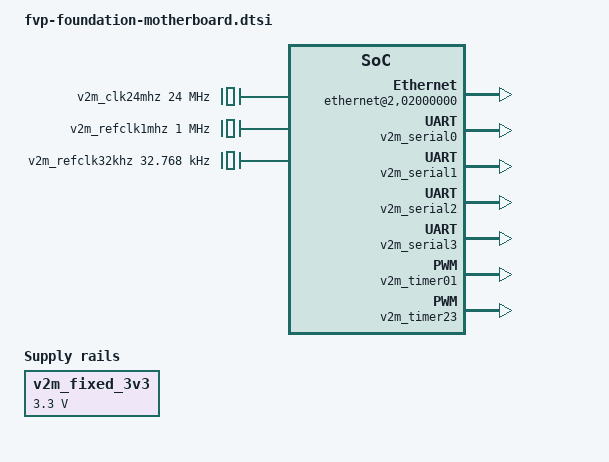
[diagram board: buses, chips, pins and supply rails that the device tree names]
/*
 * Copyright (c) 2013-2014, ARM Limited and Contributors. All rights reserved.
 *
 * Redistribution and use in source and binary forms, with or without
 * modification, are permitted provided that the following conditions are met:
 *
 * Redistributions of source code must retain the above copyright notice, this
 * list of conditions and the following disclaimer.
 *
 * Redistributions in binary form must reproduce the above copyright notice,
 * this list of conditions and the following disclaimer in the documentation
 * and/or other materials provided with the distribution.
 *
 * Neither the name of the ARM nor the names of its contributors may be used
 * to endorse or promote products derived from this software without specific
 * prior written permission.
 *
 * THIS SOFTWARE IS PROVIDED BY THE COPYRIGHT HOLDERS AND CONTRIBUTORS "AS IS"
 * AND ANY EXPRESS OR IMPLIED WARRANTIES, INCLUDING, BUT NOT LIMITED TO, THE
 * IMPLIED WARRANTIES OF MERCHANTABILITY AND FITNESS FOR A PARTICULAR PURPOSE
 * ARE DISCLAIMED. IN NO EVENT SHALL THE COPYRIGHT HOLDER OR CONTRIBUTORS BE
 * LIABLE FOR ANY DIRECT, INDIRECT, INCIDENTAL, SPECIAL, EXEMPLARY, OR
 * CONSEQUENTIAL DAMAGES (INCLUDING, BUT NOT LIMITED TO, PROCUREMENT OF
 * SUBSTITUTE GOODS OR SERVICES; LOSS OF USE, DATA, OR PROFITS; OR BUSINESS
 * INTERRUPTION) HOWEVER CAUSED AND ON ANY THEORY OF LIABILITY, WHETHER IN
 * CONTRACT, STRICT LIABILITY, OR TORT (INCLUDING NEGLIGENCE OR OTHERWISE)
 * ARISING IN ANY WAY OUT OF THE USE OF THIS SOFTWARE, EVEN IF ADVISED OF THE
 * POSSIBILITY OF SUCH DAMAGE.
 */

	motherboard {
		arm,v2m-memory-map = "rs1";
		compatible = "arm,vexpress,v2m-p1", "simple-bus";
		#address-cells = <2>; /* SMB chipselect number and offset */
		#size-cells = <1>;
		#interrupt-cells = <1>;
		ranges;

		ethernet@2,02000000 {
			compatible = "smsc,lan91c111";
			reg = <2 0x02000000 0x10000>;
			interrupts = <15>;
		};

		v2m_clk24mhz: clk24mhz {
			compatible = "fixed-clock";
			#clock-cells = <0>;
			clock-frequency = <24000000>;
			clock-output-names = "v2m:clk24mhz";
		};

		v2m_refclk1mhz: refclk1mhz {
			compatible = "fixed-clock";
			#clock-cells = <0>;
			clock-frequency = <1000000>;
			clock-output-names = "v2m:refclk1mhz";
		};

		v2m_refclk32khz: refclk32khz {
			compatible = "fixed-clock";
			#clock-cells = <0>;
			clock-frequency = <32768>;
			clock-output-names = "v2m:refclk32khz";
		};

		iofpga@3,00000000 {
			compatible = "arm,amba-bus", "simple-bus";
			#address-cells = <1>;
			#size-cells = <1>;
			ranges = <0 3 0 0x200000>;

			v2m_sysreg: sysreg@010000 {
				compatible = "arm,vexpress-sysreg";
				reg = <0x010000 0x1000>;
				gpio-controller;
				#gpio-cells = <2>;
			};

			v2m_sysctl: sysctl@020000 {
				compatible = "arm,sp810", "arm,primecell";
				reg = <0x020000 0x1000>;
				clocks = <&v2m_refclk32khz>, <&v2m_refclk1mhz>, <&v2m_clk24mhz>;
				clock-names = "refclk", "timclk", "apb_pclk";
				#clock-cells = <1>;
				clock-output-names = "timerclken0", "timerclken1", "timerclken2", "timerclken3";
			};

			v2m_serial0: uart@090000 {
				compatible = "arm,pl011", "arm,primecell";
				reg = <0x090000 0x1000>;
				interrupts = <5>;
				clocks = <&v2m_clk24mhz>, <&v2m_clk24mhz>;
				clock-names = "uartclk", "apb_pclk";
			};

			v2m_serial1: uart@0a0000 {
				compatible = "arm,pl011", "arm,primecell";
				reg = <0x0a0000 0x1000>;
				interrupts = <6>;
				clocks = <&v2m_clk24mhz>, <&v2m_clk24mhz>;
				clock-names = "uartclk", "apb_pclk";
			};

			v2m_serial2: uart@0b0000 {
				compatible = "arm,pl011", "arm,primecell";
				reg = <0x0b0000 0x1000>;
				interrupts = <7>;
				clocks = <&v2m_clk24mhz>, <&v2m_clk24mhz>;
				clock-names = "uartclk", "apb_pclk";
			};

			v2m_serial3: uart@0c0000 {
				compatible = "arm,pl011", "arm,primecell";
				reg = <0x0c0000 0x1000>;
				interrupts = <8>;
				clocks = <&v2m_clk24mhz>, <&v2m_clk24mhz>;
				clock-names = "uartclk", "apb_pclk";
			};

			wdt@0f0000 {
				compatible = "arm,sp805", "arm,primecell";
				reg = <0x0f0000 0x1000>;
				interrupts = <0>;
				clocks = <&v2m_refclk32khz>, <&v2m_clk24mhz>;
				clock-names = "wdogclk", "apb_pclk";
			};

			v2m_timer01: timer@110000 {
				compatible = "arm,sp804", "arm,primecell";
				reg = <0x110000 0x1000>;
				interrupts = <2>;
				clocks = <&v2m_sysctl 0>, <&v2m_sysctl 1>, <&v2m_clk24mhz>;
				clock-names = "timclken1", "timclken2", "apb_pclk";
			};

			v2m_timer23: timer@120000 {
				compatible = "arm,sp804", "arm,primecell";
				reg = <0x120000 0x1000>;
				interrupts = <3>;
				clocks = <&v2m_sysctl 2>, <&v2m_sysctl 3>, <&v2m_clk24mhz>;
				clock-names = "timclken1", "timclken2", "apb_pclk";
			};

			rtc@170000 {
				compatible = "arm,pl031", "arm,primecell";
				reg = <0x170000 0x1000>;
				interrupts = <4>;
				clocks = <&v2m_clk24mhz>;
				clock-names = "apb_pclk";
			};

			virtio_block@0130000 {
				compatible = "virtio,mmio";
				reg = <0x130000 0x1000>;
				interrupts = <0x2a>;
			};
		};

		v2m_fixed_3v3: fixedregulator@0 {
			compatible = "regulator-fixed";
			regulator-name = "3V3";
			regulator-min-microvolt = <3300000>;
			regulator-max-microvolt = <3300000>;
			regulator-always-on;
		};


		mcc {
			compatible = "arm,vexpress,config-bus", "simple-bus";
			arm,vexpress,config-bridge = <&v2m_sysreg>;

			reset@0 {
				compatible = "arm,vexpress-reset";
				arm,vexpress-sysreg,func = <5 0>;
			};

			muxfpga@0 {
				compatible = "arm,vexpress-muxfpga";
				arm,vexpress-sysreg,func = <7 0>;
			};

			shutdown@0 {
				compatible = "arm,vexpress-shutdown";
				arm,vexpress-sysreg,func = <8 0>;
			};

			reboot@0 {
				compatible = "arm,vexpress-reboot";
				arm,vexpress-sysreg,func = <9 0>;
			};

			dvimode@0 {
				compatible = "arm,vexpress-dvimode";
				arm,vexpress-sysreg,func = <11 0>;
			};
		};
	};
